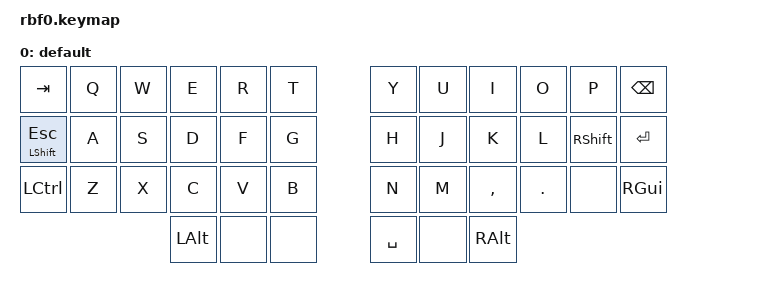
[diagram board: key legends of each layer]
#include <behaviors.dtsi>
#include <dt-bindings/zmk/keys.h>

#define _ &none

#define a &kp A
#define b &kp B
#define c &kp C
#define d &kp D
#define e &kp E
#define f &kp F
#define g &kp G
#define h &kp H
#define i &kp I
#define j &kp J
#define k &kp K
#define l &kp L
#define m &kp M
#define n &kp N
#define o &kp O
#define p &kp P
#define q &kp Q
#define q &kp Q
#define r &kp R
#define s &kp S
#define t &kp T
#define u &kp U
#define v &kp V
#define w &kp W
#define x &kp X
#define y &kp Y
#define z &kp Z

#define bksp    &kp BACKSPACE
#define comma   &kp COMMA
#define dot     &kp DOT
#define enter   &kp ENTER
#define lalt    &kp LEFT_ALT
#define lctrl   &kp LEFT_CONTROL
#define period  &kp PERIOD
#define ralt    &kp RIGHT_ALT
#define rgui    &kp RIGHT_GUI
#define rshift  &kp RIGHT_SHIFT
#define space   &kp SPACE
#define tab     &kp TAB

#define shf_esc &mt LEFT_SHIFT ESCAPE

&lt {
  tapping-term-ms = <150>;
};

/ {
  keymap {
    compatible = "zmk,keymap";
    default {
      bindings =
        <
          tab     q       w       e       r       t         y       u       i       o       p       bksp

          shf_esc a       s       d       f       g         h       j       k       l       rshift  enter

          lctrl   z       x       c       v       b         n       m       comma   period  _       rgui

                                  lalt    _       _         space   _       ralt
        >;
    };
  };
};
